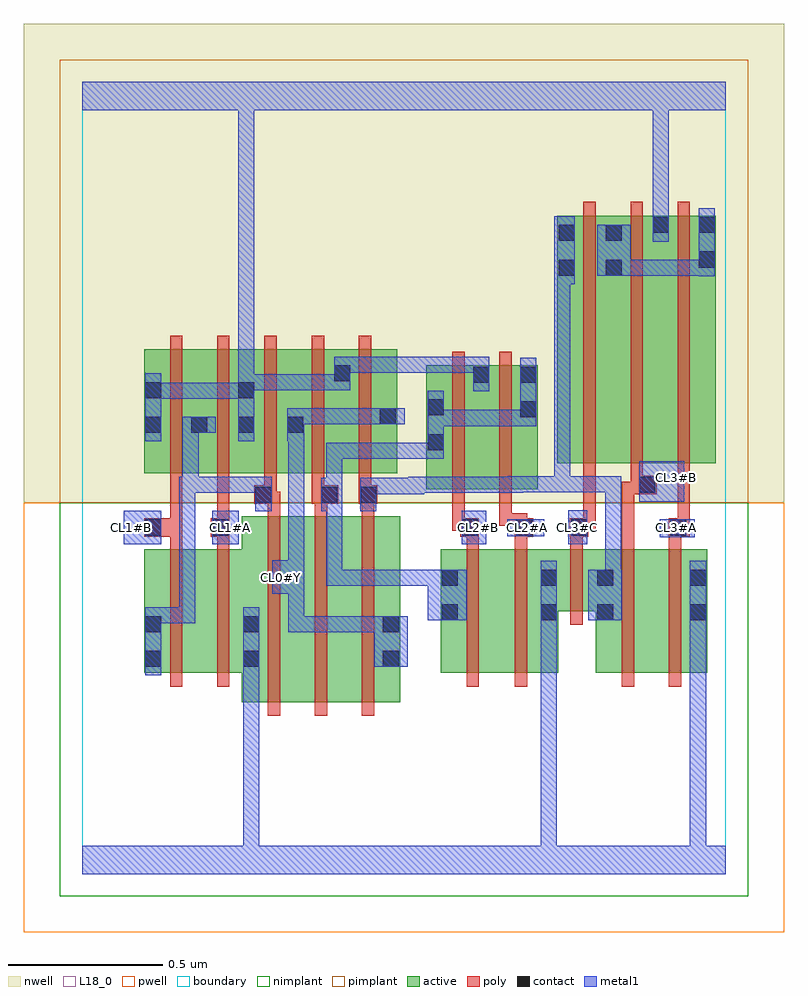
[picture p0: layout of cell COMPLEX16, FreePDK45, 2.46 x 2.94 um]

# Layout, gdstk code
import gdstk
lib = gdstk.Library(unit=1e-6, precision=1e-09)
def R(c, l, rs):  # rectangles x0, y0, x1, y1
    for r in rs: c.add(gdstk.rectangle(r[:2], r[2:], *l))
def A(c, l, x, y, w, h, nx, ny, dx, dy):  # array of equal rectangles
    R(c, l, [(x+i*dx, y+j*dy, x+i*dx+w, y+j*dy+h) for i in range(nx) for j in range(ny)])
active = (1, 0)
pwell = (2, 0)
nwell = (3, 0)
nimplant = (4, 0)
pimplant = (5, 0)
poly = (9, 0)
contact = (10, 0)
metal1 = (11, 0)
L18_0 = (18, 0)
boundary = (235, 0)

complex16 = lib.new_cell('COMPLEX16')
R(complex16, active, [(0.516,0.556,0.696,1.156), (0.696,0.556,0.848,1.156), (0.848,0.556,1.028,1.156), (0.968,0.556,1.028,1.156), (0.2,0.65,0.38,1.05), (0.38,0.65,0.576,1.05), (1.158,0.65,1.338,1.05), (1.338,0.65,1.538,1.05), (1.478,0.65,1.538,0.988), (1.66,0.65,1.84,1.05), (1.66,0.65,1.72,0.988), (1.84,0.65,2.02,1.05), (1.96,0.65,2.02,1.05), (0.2,0.666,0.26,1.05), (0.516,0.666,0.576,1.05), (1.158,0.756,1.218,1.05), (1.478,0.85,1.72,1.05), (1.112,1.244,1.172,1.644), (1.112,1.244,1.32,1.644), (1.26,1.244,1.32,1.644), (1.26,1.244,1.472,1.644), (1.412,1.244,1.472,1.644), (0.2,1.296,0.408,1.696), (0.2,1.296,0.26,1.644), (0.348,1.296,0.408,1.696), (0.348,1.296,0.56,1.696), (0.5,1.296,0.56,1.644), (0.5,1.296,0.718,1.696), (0.658,1.296,0.718,1.696), (0.658,1.296,0.87,1.696), (0.81,1.296,0.87,1.696), (0.81,1.296,1.018,1.696), (0.958,1.296,1.018,1.644), (1.536,1.328,1.748,2.128), (1.536,1.328,1.596,2.102), (1.688,1.328,1.9,2.128), (1.84,1.328,2.048,2.128), (1.988,1.328,2.048,2.128), (1.688,1.686,1.748,2.102), (1.84,1.686,1.9,2.128)])
R(complex16, pwell, [(-0.188,-0.188,2.268,1.2)])
R(complex16, nwell, [(-0.188,1.2,2.268,2.748)])
R(complex16, nimplant, [(-0.072,-0.072,2.152,1.2)])
R(complex16, pimplant, [(-0.072,1.2,2.152,2.632)])
A(complex16, poly, 0.6, 0.512, 0.04, 0.688, 3, 1, 0.152, 0)
A(complex16, poly, 0.6, 1.16, 0.04, 0.076, 3, 1, 0.152, 0)
A(complex16, poly, 0.284, 1.252, 0.04, 0.488, 3, 1, 0.152, 0)
A(complex16, poly, 1.62, 1.284, 0.04, 0.888, 3, 1, 0.152, 0)
R(complex16, poly, [(0.284,0.606,0.324,1.094), (0.436,0.606,0.476,1.094), (1.242,0.606,1.282,1.094), (1.398,0.606,1.438,1.094), (1.744,0.606,1.784,1.094), (1.896,0.606,1.936,1.094), (1.578,0.806,1.618,1.094), (0.284,1.054,0.324,1.13), (0.436,1.054,0.476,1.13), (1.242,1.054,1.282,1.13), (1.398,1.054,1.438,1.13), (1.578,1.054,1.618,1.13), (1.744,1.054,1.784,1.268), (1.896,1.054,1.936,1.13), (0.2,1.09,0.324,1.15), (0.284,1.09,0.324,1.13), (0.284,1.09,0.324,1.13), (0.416,1.09,0.476,1.15), (1.222,1.09,1.282,1.15), (1.398,1.09,1.458,1.15), (1.576,1.09,1.636,1.15), (1.896,1.09,1.964,1.15), (0.284,1.11,0.324,1.292), (0.436,1.11,0.476,1.15), (0.436,1.11,0.476,1.15), (0.436,1.11,0.476,1.292), (1.196,1.11,1.236,1.24), (1.196,1.11,1.262,1.15), (1.222,1.11,1.262,1.15), (1.398,1.11,1.438,1.166), (1.596,1.11,1.636,1.15), (1.596,1.11,1.66,1.15), (1.62,1.11,1.66,1.324), (1.924,1.11,1.964,1.324), (1.924,1.11,1.964,1.15), (1.924,1.11,1.964,1.15), (1.348,1.126,1.388,1.24), (1.348,1.126,1.438,1.166), (0.556,1.196,0.628,1.256), (0.588,1.196,0.628,1.236), (0.588,1.196,0.64,1.236), (0.742,1.196,0.828,1.256), (0.752,1.196,0.792,1.236), (0.752,1.196,0.792,1.236), (0.894,1.196,0.954,1.256), (0.904,1.196,0.944,1.236), (0.904,1.196,0.944,1.236), (1.196,1.2,1.236,1.688), (1.348,1.2,1.388,1.688), (0.588,1.216,0.628,1.292), (0.742,1.216,0.782,1.292), (0.894,1.216,0.934,1.292), (1.744,1.228,1.812,1.268), (1.772,1.228,1.812,1.268), (1.772,1.228,1.856,1.288), (1.772,1.248,1.812,1.324), (0.742,1.252,0.782,1.74), (0.894,1.252,0.934,1.74)])
R(complex16, contact, [(0.204,0.67,0.256,0.722), (0.52,0.67,0.572,0.722), (0.972,0.67,1.024,0.722), (0.204,0.782,0.256,0.834), (0.52,0.782,0.572,0.834), (0.972,0.782,1.024,0.834), (1.162,0.82,1.214,0.872), (1.482,0.82,1.534,0.872), (1.664,0.82,1.716,0.872), (1.964,0.82,2.016,0.872), (1.162,0.932,1.214,0.984), (1.482,0.932,1.534,0.984), (1.664,0.932,1.716,0.984), (1.964,0.932,2.016,0.984), (0.204,1.094,0.256,1.146), (0.42,1.094,0.472,1.146), (1.226,1.094,1.278,1.146), (1.402,1.094,1.454,1.146), (1.58,1.094,1.632,1.146), (1.9,1.094,1.952,1.146), (0.56,1.2,0.612,1.252), (0.772,1.2,0.824,1.252), (0.898,1.2,0.95,1.252), (1.8,1.232,1.852,1.284), (1.116,1.37,1.168,1.422), (0.204,1.426,0.256,1.478), (0.352,1.426,0.404,1.478), (0.504,1.426,0.556,1.478), (0.662,1.426,0.714,1.478), (0.962,1.454,1.014,1.506), (1.416,1.476,1.468,1.528), (1.116,1.482,1.168,1.534), (0.204,1.538,0.256,1.59), (0.504,1.538,0.556,1.59), (1.264,1.588,1.316,1.64), (1.416,1.588,1.468,1.64), (0.814,1.592,0.866,1.644), (1.54,1.934,1.592,1.986), (1.692,1.934,1.744,1.986), (1.992,1.96,2.044,2.012), (1.54,2.046,1.592,2.098), (1.692,2.046,1.744,2.098), (1.844,2.072,1.896,2.124), (1.992,2.072,2.044,2.124)])
R(complex16, metal1, [(0,0,2.08,0.092), (0.52,0.04,0.572,0.092), (0.52,0.04,0.572,0.092), (0.52,0.04,0.572,0.092), (0.52,0.04,0.572,0.092), (0.52,0.04,0.572,0.092), (0.52,0.04,0.572,0.092), (0.52,0.04,0.572,0.092), (0.52,0.04,0.572,0.092), (0.52,0.04,0.572,0.694), (1.482,0.04,1.534,0.092), (1.482,0.04,1.534,0.092), (1.482,0.04,1.534,0.092), (1.482,0.04,1.534,0.092), (1.482,0.04,1.534,0.844), (1.964,0.04,2.016,0.092), (1.964,0.04,2.016,0.092), (1.964,0.04,2.016,0.092), (1.964,0.04,2.016,0.092), (1.964,0.04,2.016,0.092), (1.964,0.04,2.016,0.092), (1.964,0.04,2.016,0.092), (1.964,0.04,2.016,0.092), (1.964,0.04,2.016,0.844), (0.204,0.642,0.256,0.862), (0.52,0.642,0.572,0.862), (0.944,0.67,1.052,0.834), (0.666,0.782,0.718,0.834), (0.666,0.782,0.84,0.834), (0.666,0.782,0.718,0.958), (0.788,0.782,0.84,0.834), (0.788,0.782,0.84,0.834), (0.788,0.782,0.84,0.834), (0.788,0.782,0.996,0.834), (0.944,0.782,0.996,0.834), (0.944,0.782,0.996,0.834), (1.482,0.792,1.534,0.844), (1.482,0.792,1.534,0.844), (1.482,0.792,1.534,0.844), (1.482,0.792,1.534,0.844), (1.482,0.792,1.534,0.844), (1.482,0.792,1.534,0.844), (1.482,0.792,1.534,0.844), (1.482,0.792,1.534,0.844), (1.482,0.792,1.534,1.012), (1.964,0.792,2.016,0.844), (1.964,0.792,2.016,0.844), (1.964,0.792,2.016,0.844), (1.964,0.792,2.016,0.844), (1.964,0.792,2.016,1.012), (0.204,0.81,0.256,0.862), (0.204,0.81,0.256,0.862), (0.204,0.81,0.256,0.862), (0.204,0.81,0.256,0.862), (0.204,0.81,0.366,0.862), (0.314,0.81,0.366,0.862), (0.314,0.81,0.366,1.284), (1.116,0.82,1.242,0.984), (1.636,0.82,1.744,0.984), (0.614,0.906,0.718,1.014), (0.788,0.932,0.84,0.984), (0.788,0.932,0.976,0.984), (0.788,0.932,0.84,1.28), (0.924,0.932,0.976,0.984), (0.924,0.932,0.976,0.984), (0.924,0.932,0.976,0.984), (0.924,0.932,1.168,0.984), (1.116,0.932,1.168,0.984), (1.116,0.932,1.168,0.984), (1.69,0.932,1.742,1.286), (0.666,0.962,0.718,1.014), (0.666,0.962,0.718,1.014), (0.666,0.962,0.718,1.45), (0.134,1.066,0.256,1.174), (0.42,1.066,0.506,1.174), (1.226,1.066,1.306,1.174), (1.57,1.066,1.632,1.176), (1.866,1.088,1.98,1.146), (1.374,1.092,1.494,1.146), (0.56,1.172,0.612,1.284), (0.772,1.172,0.824,1.28), (0.898,1.172,0.95,1.28), (1.8,1.204,1.946,1.334), (0.772,1.228,0.84,1.28), (0.788,1.228,0.84,1.28), (0.788,1.228,0.84,1.394), (0.898,1.228,1.106,1.28), (1.054,1.228,1.106,1.28), (1.054,1.228,1.106,1.28), (1.054,1.228,1.106,1.284), (0.314,1.232,0.376,1.284), (0.324,1.232,0.376,1.284), (0.324,1.232,0.376,1.284), (0.324,1.232,0.486,1.284), (0.324,1.232,0.376,1.478), (0.434,1.232,0.486,1.284), (0.434,1.232,0.612,1.284), (1.054,1.232,1.316,1.284), (1.264,1.232,1.316,1.284), (1.264,1.232,1.316,1.284), (1.264,1.232,1.316,1.284), (1.264,1.232,1.426,1.284), (1.374,1.232,1.426,1.284), (1.374,1.232,1.426,1.284), (1.374,1.232,1.426,1.286), (1.374,1.234,1.578,1.286), (1.526,1.234,1.578,1.286), (1.526,1.234,1.578,1.286), (1.526,1.234,1.578,1.286), (1.526,1.234,1.742,1.286), (1.526,1.234,1.578,1.958), (1.69,1.234,1.742,1.286), (1.69,1.234,1.742,1.286), (1.69,1.234,1.742,1.286), (0.788,1.342,0.84,1.394), (0.788,1.342,0.95,1.394), (0.898,1.342,0.95,1.394), (0.898,1.342,1.168,1.394), (1.116,1.342,1.168,1.394), (1.116,1.342,1.168,1.394), (1.116,1.342,1.168,1.562), (0.204,1.398,0.256,1.618), (0.504,1.398,0.556,1.618), (0.662,1.398,0.718,1.506), (0.324,1.426,0.432,1.478), (1.116,1.448,1.278,1.5), (1.226,1.448,1.278,1.5), (1.226,1.448,1.278,1.5), (1.226,1.448,1.278,1.5), (1.226,1.448,1.468,1.5), (1.416,1.448,1.468,1.5), (1.416,1.448,1.468,1.5), (1.416,1.448,1.468,1.668), (0.666,1.454,0.718,1.506), (0.666,1.454,0.718,1.506), (0.666,1.454,0.84,1.506), (0.788,1.454,0.84,1.506), (0.788,1.454,0.84,1.506), (0.788,1.454,0.84,1.506), (0.788,1.454,0.986,1.506), (0.934,1.454,0.986,1.506), (0.934,1.454,0.986,1.506), (0.934,1.454,1.042,1.506), (0.204,1.536,0.256,1.588), (0.204,1.536,0.256,1.588), (0.204,1.536,0.376,1.588), (0.324,1.536,0.376,1.588), (0.324,1.536,0.376,1.588), (0.324,1.536,0.376,1.588), (0.324,1.536,0.556,1.588), (1.264,1.56,1.316,1.668), (0.504,1.564,0.62,1.616), (0.568,1.564,0.62,1.616), (0.568,1.564,0.73,1.616), (0.678,1.564,0.73,1.616), (0.678,1.564,0.73,1.616), (0.678,1.564,0.73,1.616), (0.678,1.564,0.866,1.616), (0.814,1.564,0.866,1.672), (0.504,1.566,0.556,1.618), (0.504,1.566,0.556,1.618), (0.504,1.566,0.556,1.618), (0.504,1.566,0.556,1.618), (0.504,1.566,0.556,1.618), (0.504,1.566,0.556,1.618), (0.504,1.566,0.556,1.618), (0.504,1.566,0.556,1.618), (0.504,1.566,0.556,1.618), (0.504,1.566,0.556,1.618), (0.504,1.566,0.556,2.52), (1.264,1.616,1.316,1.668), (1.264,1.616,1.316,1.672), (0.814,1.62,0.95,1.672), (0.898,1.62,0.95,1.672), (0.898,1.62,1.168,1.672), (1.116,1.62,1.168,1.672), (1.116,1.62,1.168,1.672), (1.116,1.62,1.168,1.672), (1.116,1.62,1.316,1.672), (1.526,1.906,1.592,2.126), (1.992,1.932,2.044,2.152), (1.664,1.934,1.772,2.098), (1.72,1.934,1.772,1.986), (1.72,1.934,1.772,1.986), (1.72,1.934,1.882,1.986), (1.83,1.934,1.882,1.986), (1.83,1.934,2.044,1.986), (1.992,1.934,2.044,1.986), (1.992,1.934,2.044,1.986), (1.844,2.044,1.896,2.152), (1.844,2.1,1.896,2.152), (1.844,2.1,1.896,2.152), (1.844,2.1,1.896,2.152), (1.844,2.1,1.896,2.152), (1.844,2.1,1.896,2.152), (1.844,2.1,1.896,2.152), (1.844,2.1,1.896,2.152), (1.844,2.1,1.896,2.152), (1.844,2.1,1.896,2.52), (0,2.468,2.08,2.56), (0.504,2.468,0.556,2.52), (0.504,2.468,0.556,2.52), (0.504,2.468,0.556,2.52), (0.504,2.468,0.556,2.52), (0.504,2.468,0.556,2.52), (0.504,2.468,0.556,2.52)])
A(complex16, L18_0, 1.254, 1.094, 0.052, 0.052, 3, 1, 0.16, 0)
R(complex16, L18_0, [(0,0,2.08,0.092), (0.52,0.04,0.572,0.092), (0.52,0.04,0.572,0.092), (0.52,0.04,0.572,0.092), (0.52,0.04,0.572,0.092), (0.52,0.04,0.572,0.092), (0.52,0.04,0.572,0.092), (0.52,0.04,0.572,0.092), (0.52,0.04,0.572,0.092), (0.52,0.04,0.572,0.694), (1.482,0.04,1.534,0.092), (1.482,0.04,1.534,0.092), (1.482,0.04,1.534,0.092), (1.482,0.04,1.534,0.092), (1.482,0.04,1.534,0.844), (1.964,0.04,2.016,0.092), (1.964,0.04,2.016,0.092), (1.964,0.04,2.016,0.092), (1.964,0.04,2.016,0.092), (1.964,0.04,2.016,0.092), (1.964,0.04,2.016,0.092), (1.964,0.04,2.016,0.092), (1.964,0.04,2.016,0.092), (1.964,0.04,2.016,0.844), (0.52,0.642,0.572,0.862), (0.944,0.67,1.052,0.834), (0.666,0.782,0.718,0.834), (0.666,0.782,0.718,0.958), (0.666,0.782,0.84,0.834), (0.788,0.782,0.84,0.834), (0.788,0.782,0.84,0.834), (0.788,0.782,0.84,0.834), (0.788,0.782,0.996,0.834), (0.944,0.782,0.996,0.834), (0.944,0.782,0.996,0.834), (1.482,0.792,1.534,1.012), (1.482,0.792,1.534,0.844), (1.482,0.792,1.534,0.844), (1.482,0.792,1.534,0.844), (1.482,0.792,1.534,0.844), (1.482,0.792,1.534,0.844), (1.482,0.792,1.534,0.844), (1.482,0.792,1.534,0.844), (1.482,0.792,1.534,0.844), (1.964,0.792,2.016,1.012), (1.964,0.792,2.016,0.844), (1.964,0.792,2.016,0.844), (1.964,0.792,2.016,0.844), (1.964,0.792,2.016,0.844), (0.614,0.906,0.718,1.014), (0.614,0.934,0.666,0.986), (0.666,0.962,0.718,1.014), (0.666,0.962,0.718,1.014), (0.666,0.962,0.718,1.45), (0.134,1.066,0.256,1.174), (0.42,1.066,0.506,1.174), (1.226,1.066,1.306,1.174), (1.57,1.066,1.632,1.176), (1.866,1.088,1.98,1.146), (1.374,1.092,1.494,1.146), (0.134,1.094,0.186,1.146), (0.454,1.094,0.506,1.146), (1.894,1.094,1.946,1.146), (1.8,1.204,1.946,1.334), (1.894,1.254,1.946,1.306), (0.204,1.398,0.256,1.618), (0.504,1.398,0.556,1.618), (0.662,1.398,0.718,1.506), (0.666,1.454,0.718,1.506), (0.666,1.454,0.718,1.506), (0.666,1.454,0.84,1.506), (0.788,1.454,0.84,1.506), (0.788,1.454,0.84,1.506), (0.788,1.454,0.84,1.506), (0.788,1.454,0.986,1.506), (0.934,1.454,0.986,1.506), (0.934,1.454,0.986,1.506), (0.934,1.454,1.042,1.506), (0.204,1.536,0.256,1.588), (0.204,1.536,0.256,1.588), (0.204,1.536,0.376,1.588), (0.324,1.536,0.376,1.588), (0.324,1.536,0.376,1.588), (0.324,1.536,0.376,1.588), (0.324,1.536,0.556,1.588), (1.264,1.56,1.316,1.668), (0.504,1.564,0.62,1.616), (0.568,1.564,0.62,1.616), (0.568,1.564,0.73,1.616), (0.678,1.564,0.73,1.616), (0.678,1.564,0.73,1.616), (0.678,1.564,0.73,1.616), (0.678,1.564,0.866,1.616), (0.814,1.564,0.866,1.672), (0.504,1.566,0.556,1.618), (0.504,1.566,0.556,1.618), (0.504,1.566,0.556,1.618), (0.504,1.566,0.556,1.618), (0.504,1.566,0.556,1.618), (0.504,1.566,0.556,1.618), (0.504,1.566,0.556,1.618), (0.504,1.566,0.556,1.618), (0.504,1.566,0.556,1.618), (0.504,1.566,0.556,1.618), (0.504,1.566,0.556,2.52), (1.264,1.616,1.316,1.668), (1.264,1.616,1.316,1.672), (0.814,1.62,0.95,1.672), (0.898,1.62,0.95,1.672), (0.898,1.62,1.168,1.672), (1.116,1.62,1.168,1.672), (1.116,1.62,1.168,1.672), (1.116,1.62,1.168,1.672), (1.116,1.62,1.316,1.672), (1.844,2.044,1.896,2.152), (1.844,2.1,1.896,2.152), (1.844,2.1,1.896,2.152), (1.844,2.1,1.896,2.152), (1.844,2.1,1.896,2.152), (1.844,2.1,1.896,2.152), (1.844,2.1,1.896,2.152), (1.844,2.1,1.896,2.152), (1.844,2.1,1.896,2.152), (1.844,2.1,1.896,2.52), (0,2.468,2.08,2.56), (0.504,2.468,0.556,2.52), (0.504,2.468,0.556,2.52), (0.504,2.468,0.556,2.52), (0.504,2.468,0.556,2.52), (0.504,2.468,0.556,2.52), (0.504,2.468,0.556,2.52)])
R(complex16, boundary, [(0,0,2.08,2.56)])
complex16.add(gdstk.Label('CL0#Y', (0.64,0.96), layer=11, texttype=0))
complex16.add(gdstk.Label('CL1#A', (0.48,1.12), layer=11, texttype=0))
complex16.add(gdstk.Label('CL1#B', (0.16,1.12), layer=11, texttype=0))
complex16.add(gdstk.Label('CL2#A', (1.44,1.12), layer=11, texttype=0))
complex16.add(gdstk.Label('CL2#B', (1.28,1.12), layer=11, texttype=0))
complex16.add(gdstk.Label('CL3#A', (1.92,1.12), layer=11, texttype=0))
complex16.add(gdstk.Label('CL3#B', (1.92,1.28), layer=11, texttype=0))
complex16.add(gdstk.Label('CL3#C', (1.6,1.12), layer=11, texttype=0))

lib.write_gds('COMPLEX16.gds')
